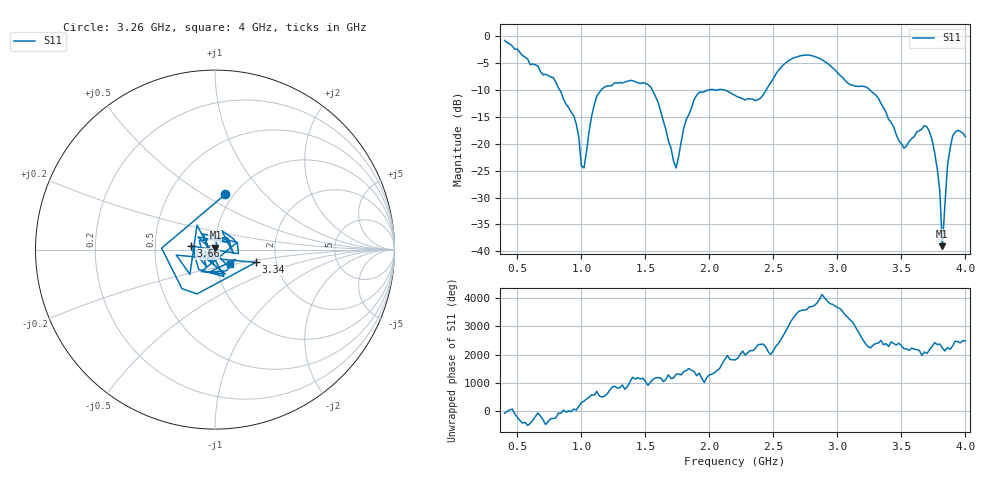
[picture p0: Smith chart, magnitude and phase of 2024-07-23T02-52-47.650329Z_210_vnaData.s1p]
!Created with skrf (http://scikit-rf.org).
# Hz S RI R 50.0
!freq ReS11 ImS11
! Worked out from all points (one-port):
!   181 points, 400 MHz to 4 GHz, reference 50 ohm
!   lowest |S11| = -39.0 dB at 3.82 GHz (marker M1), VSWR 1.02, Z = 50.2 + j1.09 ohm
!   |S11| at or under -10 dB: 831.9 MHz to 1.153 GHz (321.5 MHz wide, 32.4 % of centre); 1.555 GHz to 1.987 GHz (431.9 MHz wide, 24.4 % of centre); 3.255 GHz to end of sweep (the widest 3 of 5)
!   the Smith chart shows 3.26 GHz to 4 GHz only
!   S11 on the Smith chart (normalised r, x): 3.26 GHz: 0.92, +0.62; 3.34 GHz: 1.57, -0.24; 3.66 GHz: 0.76, +0.03; 4 GHz: 1.17, -0.19
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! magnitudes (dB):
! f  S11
! 400 MHz  -0.7
! 860 MHz  -11.7
! 960 MHz  -16.3
! 1 GHz  -24.1
! 1.02 GHz  -24.5
! 1.12 GHz  -11.1
! 1.3 GHz  -8.6
! 1.54 GHz  -9.4
! 1.74 GHz  -24.5
! 1.76 GHz  -22.3
! 1.82 GHz  -15.4
! 1.92 GHz  -10.4
! 2.2 GHz  -11.0
! 2.4 GHz  -11.5
! 2.66 GHz  -4.0
! 3.1 GHz  -9.0
! 3.26 GHz  -10.1
! 3.34 GHz  -12.5
! 3.52 GHz  -20.8
! 3.56 GHz  -19.6
! 3.66 GHz  -17.2
! 3.7 GHz  -16.8
! 3.76 GHz  -21.6
! 3.8 GHz  -28.7
! 3.82 GHz  -39.0
! 3.86 GHz  -24.1
! 3.9 GHz  -18.6
! 4 GHz  -18.7
